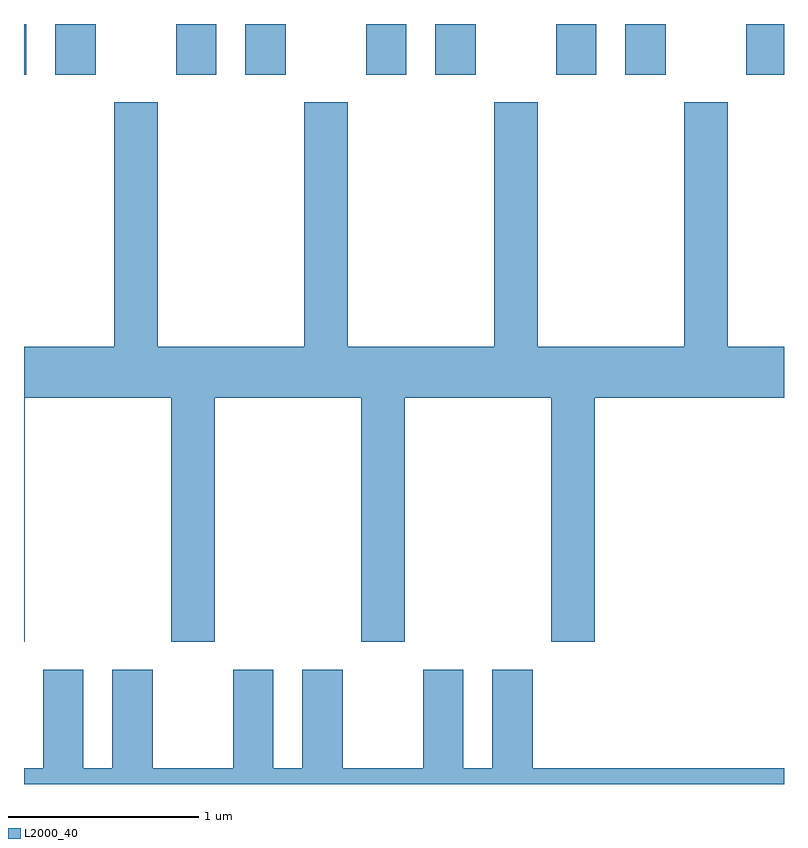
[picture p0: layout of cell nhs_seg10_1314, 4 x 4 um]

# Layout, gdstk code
import gdstk
lib = gdstk.Library(unit=1e-6, precision=1e-09)
def R(c, l, rs):  # rectangles x0, y0, x1, y1
    for r in rs: c.add(gdstk.rectangle(r[:2], r[2:], *l))
def P(c, l, *ps):  # polygons
    for p in ps: c.add(gdstk.Polygon(p, *l))
L2000_40 = (2000, 40)

nhs_seg10_1314 = lib.new_cell('nhs_seg10_1314')
R(nhs_seg10_1314, L2000_40, [(223.611,2142.256,223.624,2142.522), (223.776,2142.256,223.989,2142.522), (224.411,2142.256,224.624,2142.522), (224.776,2142.256,224.989,2142.522), (225.411,2142.256,225.624,2142.522), (225.776,2142.256,225.989,2142.522), (226.411,2142.256,226.624,2142.522), (226.776,2142.256,226.989,2142.522), (227.411,2142.256,227.611,2142.522)])
P(nhs_seg10_1314, L2000_40, [(223.614,2140.556),(224.386,2140.556),(224.386,2139.271),(224.614,2139.271),(224.614,2140.556),(225.386,2140.556),(225.386,2139.271),(225.614,2139.271),(225.614,2140.556),(226.386,2140.556),(226.386,2139.271),(226.614,2139.271),(226.614,2140.556),(227.611,2140.556),(227.611,2140.824),(227.314,2140.824),(227.314,2142.109),(227.086,2142.109),(227.086,2140.824),(226.314,2140.824),(226.314,2142.109),(226.086,2142.109),(226.086,2140.824),(225.314,2140.824),(225.314,2142.109),(225.086,2142.109),(225.086,2140.824),(224.314,2140.824),(224.314,2142.109),(224.086,2142.109),(224.086,2140.824),(223.611,2140.824),(223.611,2139.271),(223.614,2139.271)],
  [(227.611,2138.604),(226.289,2138.604),(226.289,2139.124),(226.076,2139.124),(226.076,2138.604),(225.924,2138.604),(225.924,2139.124),(225.711,2139.124),(225.711,2138.604),(225.289,2138.604),(225.289,2139.124),(225.076,2139.124),(225.076,2138.604),(224.924,2138.604),(224.924,2139.124),(224.711,2139.124),(224.711,2138.604),(224.289,2138.604),(224.289,2139.124),(224.076,2139.124),(224.076,2138.604),(223.924,2138.604),(223.924,2139.124),(223.711,2139.124),(223.711,2138.604),(223.611,2138.604),(223.611,2138.522),(227.611,2138.522)])

lib.write_gds('nhs_seg10_1314.gds')
